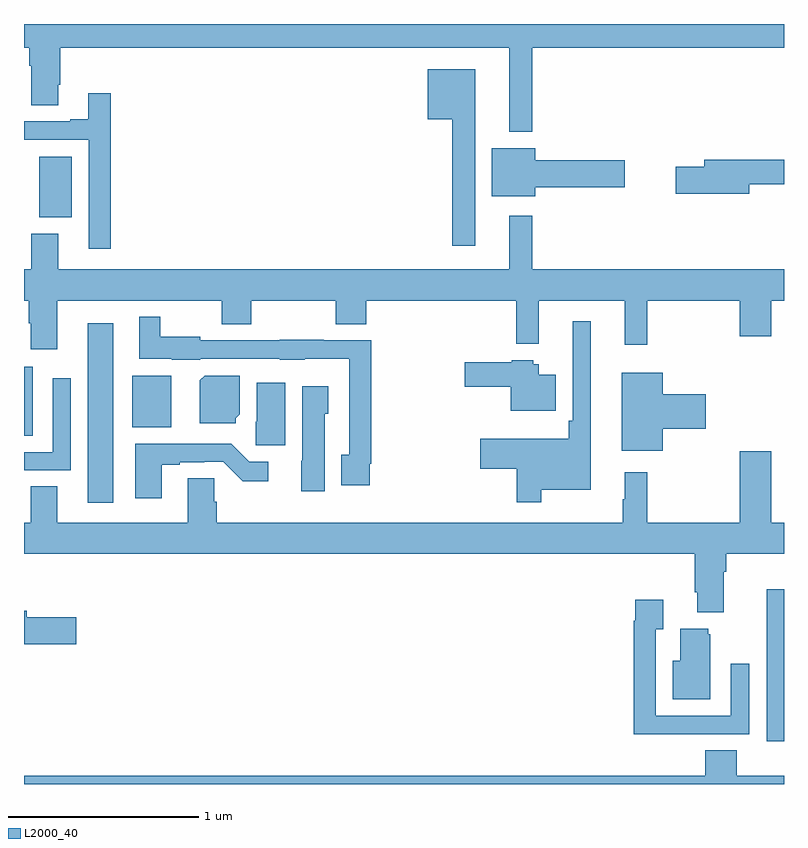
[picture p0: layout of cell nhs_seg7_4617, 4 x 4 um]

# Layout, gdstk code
import gdstk
lib = gdstk.Library(unit=1e-6, precision=1e-09)
def R(c, l, rs):  # rectangles x0, y0, x1, y1
    for r in rs: c.add(gdstk.rectangle(r[:2], r[2:], *l))
def P(c, l, *ps):  # polygons
    for p in ps: c.add(gdstk.Polygon(p, *l))
L2000_40 = (2000, 40)

nhs_seg7_4617 = lib.new_cell('nhs_seg7_4617')
R(nhs_seg7_4617, L2000_40, [(401.336,1071.48,401.47,1072.426), (401,1071.832,401.047,1072.195), (401.57,1071.878,401.776,1072.148), (401.081,1072.982,401.251,1073.302)])
P(nhs_seg7_4617, L2000_40, [(403.675,1073.876),(405,1073.876),(405,1074),(401,1074),(401,1073.876),(401.027,1073.876),(401.027,1073.78),(401.039,1073.78),(401.039,1073.572),(401.179,1073.572),(401.179,1073.68),(401.192,1073.68),(401.192,1073.876),(403.553,1073.876),(403.553,1073.432),(403.675,1073.432)],
  [(403.375,1073.761),(403.124,1073.761),(403.124,1073.498),(403.254,1073.498),(403.254,1072.833),(403.375,1072.833)],
  [(401.456,1073.635),(401.339,1073.635),(401.339,1073.5),(401.243,1073.5),(401.243,1073.487),(401,1073.487),(401,1073.391),(401.34,1073.391),(401.34,1072.818),(401.456,1072.818)],
  [(403.69,1073.14),(404.161,1073.14),(404.161,1073.282),(403.69,1073.282),(403.69,1073.347),(403.463,1073.347),(403.463,1073.093),(403.69,1073.093)],
  [(404.818,1073.157),(405,1073.157),(405,1073.285),(404.579,1073.285),(404.579,1073.249),(404.43,1073.249),(404.43,1073.107),(404.818,1073.107)],
  [(401.176,1072.544),(402.04,1072.544),(402.04,1072.42),(402.195,1072.42),(402.195,1072.544),(402.64,1072.544),(402.64,1072.42),(402.8,1072.42),(402.8,1072.544),(403.591,1072.544),(403.591,1072.316),(403.709,1072.316),(403.709,1072.544),(404.162,1072.544),(404.162,1072.311),(404.279,1072.311),(404.279,1072.544),(404.768,1072.544),(404.768,1072.356),(404.932,1072.356),(404.932,1072.544),(405,1072.544),(405,1072.708),(403.675,1072.708),(403.675,1072.99),(403.553,1072.99),(403.553,1072.708),(401.179,1072.708),(401.179,1072.897),(401.039,1072.897),(401.039,1072.708),(401,1072.708),(401,1072.544),(401.024,1072.544),(401.024,1072.424),(401.036,1072.424),(401.036,1072.287),(401.176,1072.287)],
  [(402.82,1071.685),(402.827,1071.685),(402.827,1072.335),(402.577,1072.335),(402.577,1072.337),(402.345,1072.337),(402.345,1072.335),(401.928,1072.335),(401.928,1072.354),(401.716,1072.354),(401.716,1072.459),(401.606,1072.459),(401.606,1072.238),(401.778,1072.238),(401.778,1072.232),(401.928,1072.232),(401.928,1072.239),(402.345,1072.239),(402.345,1072.232),(402.477,1072.232),(402.477,1072.238),(402.711,1072.238),(402.711,1071.734),(402.671,1071.734),(402.671,1071.573),(402.82,1071.573)],
  [(403.723,1071.548),(403.984,1071.548),(403.984,1072.435),(403.887,1072.435),(403.887,1071.913),(403.867,1071.913),(403.867,1071.817),(403.401,1071.817),(403.401,1071.659),(403.594,1071.659),(403.594,1071.483),(403.723,1071.483)],
  [(403.798,1072.153),(403.708,1072.153),(403.708,1072.209),(403.68,1072.209),(403.68,1072.231),(403.566,1072.231),(403.566,1072.221),(403.32,1072.221),(403.32,1072.091),(403.562,1072.091),(403.562,1071.965),(403.798,1071.965)],
  [(404.362,1071.869),(404.587,1071.869),(404.587,1072.052),(404.362,1072.052),(404.362,1072.165),(404.147,1072.165),(404.147,1071.755),(404.362,1071.755)],
  [(402.114,1071.924),(402.136,1071.946),(402.136,1072.15),(401.95,1072.15),(401.924,1072.124),(401.924,1071.899),(402.114,1071.899)],
  [(401.247,1072.135),(401.151,1072.135),(401.151,1071.747),(401,1071.747),(401,1071.651),(401.247,1071.651)],
  [(402.376,1072.111),(402.224,1072.111),(402.224,1071.906),(402.22,1071.906),(402.22,1071.783),(402.376,1071.783)],
  [(402.583,1071.948),(402.601,1071.948),(402.601,1072.093),(402.464,1072.093),(402.464,1071.702),(402.458,1071.702),(402.458,1071.54),(402.583,1071.54)],
  [(401.725,1071.681),(401.821,1071.681),(401.821,1071.693),(401.948,1071.693),(401.948,1071.696),(402.048,1071.696),(402.151,1071.594),(402.286,1071.594),(402.286,1071.696),(402.186,1071.696),(402.092,1071.79),(401.585,1071.79),(401.585,1071.504),(401.725,1071.504)],
  [(404.683,1071.116),(404.696,1071.116),(404.696,1071.212),(405,1071.212),(405,1071.376),(404.932,1071.376),(404.932,1071.751),(404.768,1071.751),(404.768,1071.376),(404.279,1071.376),(404.279,1071.64),(404.162,1071.64),(404.162,1071.5),(404.151,1071.5),(404.151,1071.376),(402.014,1071.376),(402.014,1071.486),(402,1071.486),(402,1071.608),(401.861,1071.608),(401.861,1071.376),(401.176,1071.376),(401.176,1071.566),(401.036,1071.566),(401.036,1071.376),(401,1071.376),(401,1071.212),(404.531,1071.212),(404.531,1071.01),(404.543,1071.01),(404.543,1070.903),(404.683,1070.903)],
  [(405,1071.026),(404.908,1071.026),(404.908,1070.719),(404.91,1070.719),(404.91,1070.226),(405,1070.226)],
  [(404.501,1070.262),(404.817,1070.262),(404.817,1070.632),(404.721,1070.632),(404.721,1070.358),(404.325,1070.358),(404.325,1070.815),(404.365,1070.815),(404.365,1070.971),(404.217,1070.971),(404.217,1070.858),(404.209,1070.858),(404.209,1070.261),(404.501,1070.261)],
  [(401.275,1070.877),(401.014,1070.877),(401.014,1070.911),(401,1070.911),(401,1070.735),(401.275,1070.735)],
  [(404.611,1070.787),(404.6,1070.787),(404.6,1070.818),(404.453,1070.818),(404.453,1070.65),(404.414,1070.65),(404.414,1070.447),(404.611,1070.447)],
  [(405,1070.044),(404.75,1070.044),(404.75,1070.177),(404.585,1070.177),(404.585,1070.044),(401,1070.044),(401,1070),(405,1070)])

lib.write_gds('nhs_seg7_4617.gds')
